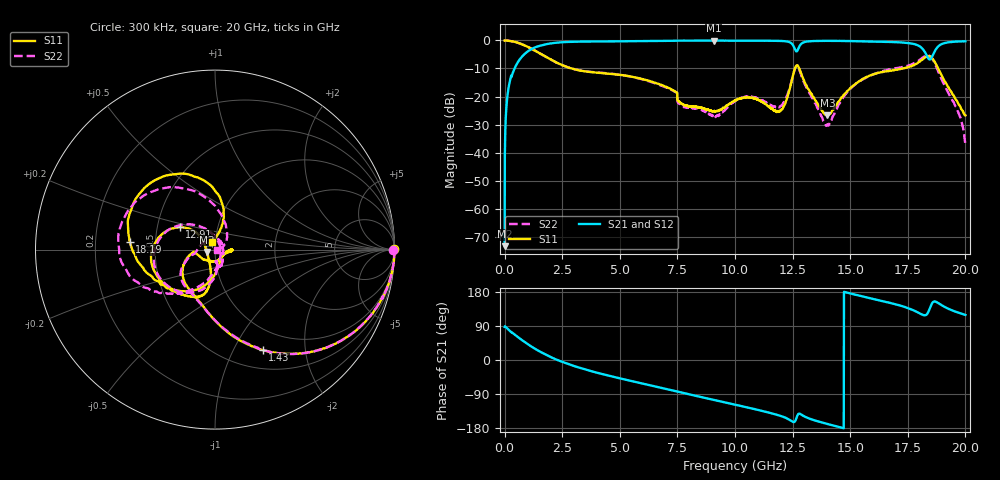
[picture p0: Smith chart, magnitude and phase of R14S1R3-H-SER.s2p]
!{R14S1R3}
!Johanson Technology Inc.
!www.johansontechnology.com
!Test Board Conditions:
!Substrate Type  RO4350B
!Substrate Thickness  20 mil
!Substrate Dk  3.66
!TL Type: GCPW
!TL Trace Width  36 mil
!TL Gap  12 mil
!Electrode orientation  Horizontal
!DUT TOPOLOGY	SERIES
!Mounting Pad LxW  26x36 mil
! Created Fri Jan  8 21:45:55 2021
# hz S ma R 50
! decimated to every 10th point (10 MHz spacing) of the original 1 MHz Johanson file; values unchanged
! 2 Port Network Data from SP1.SP block
! freq  magS11  angS11  magS21  angS21  magS12  angS12  magS22  angS22
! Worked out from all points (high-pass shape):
!   2001 points, 300 kHz to 20 GHz, reference 50 ohm
!   highest |S21| = -0.05 dB at 9.07 GHz (marker M1); lowest = -73.4 dB at 300 kHz (marker M2)
!   |S21| within 3 dB of the highest: 1.174 GHz to 12.6 GHz (11.42 GHz wide, 166 % of centre); 12.74 GHz to 18.15 GHz (5.409 GHz wide, 35 % of centre)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
!   lowest |S11| = -26.8 dB at 14.01 GHz (marker M3), VSWR 1.10, Z = 45.8 - j1.17 ohm
!   |S11| at or under -10 dB: 2.897 GHz to 12.6 GHz (9.7 GHz wide, 125 % of centre); 12.79 GHz to 17.3 GHz (4.511 GHz wide, 30 % of centre); 18.82 GHz to end of sweep
!   |S22| runs from -37.2 to 0.0 dB; largest |S21 - S12| = 0.017
!   S11 on the Smith chart (normalised r, x): 300 kHz: open; 1.43 GHz: 0.72, -1.31; 12.91 GHz: 0.65, +0.17; 18.19 GHz: 0.35, +0.04; 20 GHz: 0.97, +0.08
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300000  0.9951 0.1  0.0002147 87.4  0.0002819 111.8  0.9923 -0.0
1.103e8  0.9947 -6.4  0.09219 83.5  0.09255 83.5  0.9956 -6.3
2.403e8  0.9779 -13.7  0.1981 76.0  0.1992 76.0  0.9795 -13.7
7.003e8  0.8729 -34.9  0.4842 54.9  0.4842 55.0  0.8736 -34.8
1.4303e9  0.6204 -64.6  0.7824 25.6  0.7834 25.5  0.6194 -64.6
3.3403e9  0.2873 -111.3  0.9534 -22.1  0.9539 -22.1  0.2894 -112.5
6.6703e9  0.1687 -161.5  0.9807 -71.8  0.9814 -71.7  0.1645 -160.5
9.0703e9  0.05457 -45.4  0.9939 -105.2  0.9938 -105.2  0.04555 14.8
1.00003e10  0.08586 -1.8  0.9897 -117.8  0.9887 -117.9  0.08333 -60.9
1.18903e10  0.05458 -38.9  0.9823 -145.9  0.9837 -145.9  0.06469 -82.1
1.23903e10  0.1442 -91.7  0.9228 -158.6  0.9263 -158.5  0.1515 -90.4
1.26403e10  0.3457 -148.1  0.6511 -157.7  0.6574 -157.9  0.3377 -146.3
1.29103e10  0.2333 147.2  0.8938 -145.1  0.8957 -145.3  0.2181 140.3
1.33403e10  0.1081 139.0  0.9728 -157.0  0.9739 -157.0  0.09548 102.6
1.40103e10  0.04591 -163.9  0.9834 -168.7  0.9837 -168.8  0.03117 7.3
1.50703e10  0.1484 -99.3  0.9735 174.7  0.975 174.5  0.146 -97.8
1.66703e10  0.2831 -113.0  0.9426 151.5  0.9344 151.2  0.3043 -127.1
1.81903e10  0.4771 174.9  0.6696 118.3  0.6613 118.4  0.5082 -167.4
1.86403e10  0.4324 107.4  0.6098 154.4  0.6088 154.8  0.4156 123.2
1.90503e10  0.2048 76.4  0.8882 141.7  0.8901 141.7  0.1707 73.4
1.96903e10  0.07423 82.6  0.9569 125.1  0.9532 125.1  0.05258 23.6
2e10  0.04618 109.6  0.9663 118.9  0.9651 118.9  0.01381 -2.6
